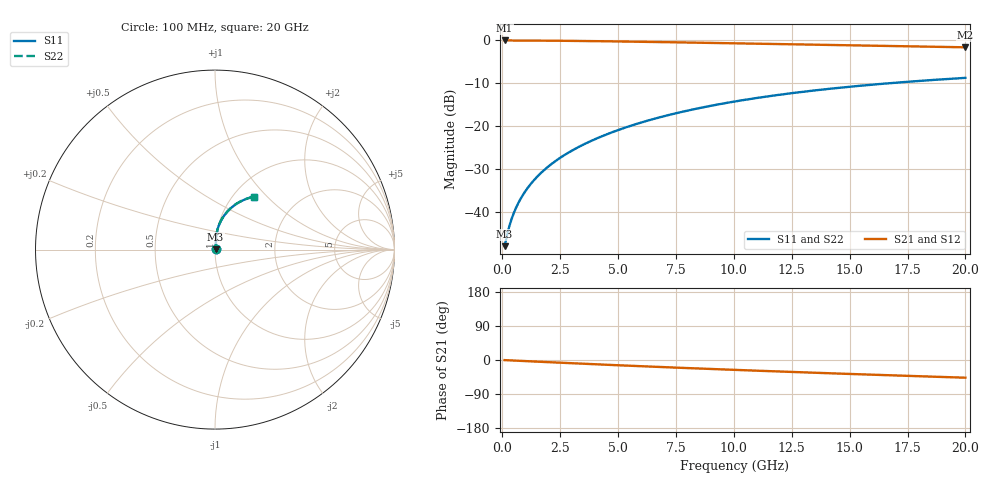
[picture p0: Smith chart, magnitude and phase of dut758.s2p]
! Touchstone file exported from HFSS 2024.1.0
!  File:  C:/UserFiles/LocalFiles/RDL_TSV_Batchsim/temp_RDL_bottom_758_1779860084.aedt
!  Generated:  01:37:36 PM May 27, 2026
!  Design:  RDL_bottom
!  Project:  temp_RDL_bottom_758_1779860084
!  Setup:  Setup1
!  Solution:  Sweep
! Variables:
!  dtsv = 10.80580581um
!  hbump = 3um
!  htsv = 64.61um
!  ldown = 698um
!  lrdl = 100um
!  p = 40
!  p1 = 48.57um
!  rhole = 1um
!  t = 450um
!  tdown = 3.03um
!  trdl = 3.915915916um
!  wdown = 25.16um
!  wrdl = 20um
# GHz S MA R 50.000000
! Terminal data exported
! Port[1] = RDL1_T1
! Port[2] = RDL1_T2
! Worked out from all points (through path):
!   200 points, 100 MHz to 20 GHz, reference 50 ohm
!   highest |S21| = -0.03 dB at 100 MHz (marker M1); lowest = -1.6 dB at 20 GHz (marker M2)
!   group delay of S21, straight-line fit = 6.42 ps
!   lowest |S11| = -47.9 dB at 100 MHz (marker M3), VSWR 1.01, Z = 50.4 + j0.197 ohm
!   |S11| at or under -10 dB: start of sweep to 16.69 GHz
!   |S22| runs from -47.9 to -8.7 dB; largest |S21 - S12| = 2.6e-15
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0.1  0.004008 29.1  0.9965 -0.3  0.9965 -0.3  0.004008 29.1
! Gamma 0 0 0 0
! Port Impedance 50 0 50 0
0.2  0.005299 46.0  0.9963 -0.6  0.9963 -0.6  0.005299 46.0
0.3  0.006781 55.0  0.996 -0.9  0.996 -0.9  0.006781 55.0
0.4  0.00829 60.6  0.9957 -1.2  0.9957 -1.2  0.00829 60.7
0.5  0.009803 64.7  0.9955 -1.5  0.9955 -1.5  0.009803 64.7
0.6  0.01133 67.7  0.9953 -1.8  0.9953 -1.8  0.01132 67.7
0.8  0.01441 72.2  0.9948 -2.3  0.9948 -2.3  0.01441 72.2
1  0.01757 75.2  0.9943 -2.9  0.9943 -2.9  0.01757 75.2
1.2  0.02078 77.4  0.9937 -3.5  0.9937 -3.5  0.02078 77.5
1.7  0.02904 80.9  0.992 -4.9  0.992 -4.9  0.02904 80.9
2.2  0.03759 82.8  0.9899 -6.3  0.9899 -6.3  0.03759 82.9
2.8  0.0482 84.1  0.9866 -8.0  0.9866 -8.0  0.0482 84.1
3.5  0.06104 84.7  0.9822 -9.9  0.9822 -9.9  0.06106 84.7
4.2  0.07437 84.7  0.9771 -11.8  0.9771 -11.8  0.0744 84.7
5  0.09012 84.2  0.9706 -13.9  0.9706 -13.9  0.09016 84.2
6.8  0.1269 81.7  0.9545 -18.4  0.9545 -18.4  0.127 81.8
8.4  0.1602 78.7  0.9392 -22.3  0.9392 -22.3  0.1604 78.7
10.1  0.1952 75.0  0.9227 -26.2  0.9227 -26.2  0.1954 75.1
11.7  0.2271 71.4  0.9071 -29.8  0.9071 -29.8  0.2273 71.5
13.4  0.2593 67.6  0.8906 -33.5  0.8906 -33.5  0.2596 67.7
16.7  0.3163 60.4  0.8593 -40.3  0.8593 -40.3  0.3167 60.5
20  0.3654 53.6  0.8293 -46.7  0.8293 -46.7  0.3659 53.7
